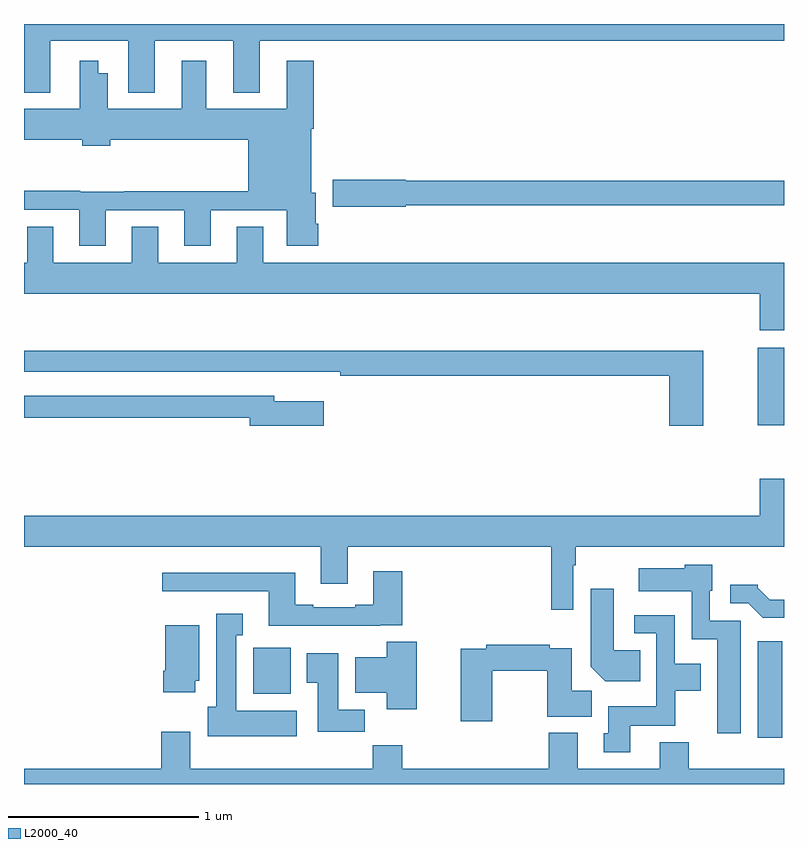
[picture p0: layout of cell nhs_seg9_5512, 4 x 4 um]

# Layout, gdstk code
import gdstk
lib = gdstk.Library(unit=1e-6, precision=1e-09)
def R(c, l, rs):  # rectangles x0, y0, x1, y1
    for r in rs: c.add(gdstk.rectangle(r[:2], r[2:], *l))
def P(c, l, *ps):  # polygons
    for p in ps: c.add(gdstk.Polygon(p, *l))
L2000_40 = (2000, 40)

nhs_seg9_5512 = lib.new_cell('nhs_seg9_5512')
R(nhs_seg9_5512, L2000_40, [(434.861,1200.744,434.992,1201.252), (432.206,1200.974,432.403,1201.216), (434.863,1202.388,435,1202.796)])
P(nhs_seg9_5512, L2000_40, [(431.137,1204.412),(431.549,1204.412),(431.549,1204.139),(431.689,1204.139),(431.689,1204.412),(432.101,1204.412),(432.101,1204.139),(432.241,1204.139),(432.241,1204.412),(435,1204.412),(435,1204.5),(431,1204.5),(431,1204.139),(431.137,1204.139)],
  [(431.431,1203.519),(431.843,1203.519),(431.843,1203.333),(431.983,1203.333),(431.983,1203.519),(432.383,1203.519),(432.383,1203.333),(432.548,1203.333),(432.548,1203.449),(432.535,1203.449),(432.535,1203.612),(432.511,1203.612),(432.511,1203.95),(432.524,1203.95),(432.524,1204.306),(432.383,1204.306),(432.383,1204.054),(431.959,1204.054),(431.959,1204.306),(431.831,1204.306),(431.831,1204.054),(431.44,1204.054),(431.44,1204.24),(431.392,1204.24),(431.392,1204.306),(431.294,1204.306),(431.294,1204.054),(431,1204.054),(431,1203.89),(431.306,1203.89),(431.306,1203.86),(431.453,1203.86),(431.453,1203.89),(432.179,1203.89),(432.179,1203.62),(431.527,1203.62),(431.527,1203.618),(431.295,1203.618),(431.295,1203.623),(431,1203.623),(431,1203.522),(431.291,1203.522),(431.291,1203.333),(431.431,1203.333)],
  [(433.008,1203.546),(435,1203.546),(435,1203.674),(433.008,1203.674),(433.008,1203.68),(432.624,1203.68),(432.624,1203.538),(433.008,1203.538)],
  [(435,1203.244),(432.259,1203.244),(432.259,1203.434),(432.119,1203.434),(432.119,1203.244),(431.707,1203.244),(431.707,1203.434),(431.567,1203.434),(431.567,1203.244),(431.155,1203.244),(431.155,1203.434),(431.016,1203.434),(431.016,1203.244),(431,1203.244),(431,1203.08),(434.873,1203.08),(434.873,1202.889),(435,1202.889)],
  [(434.574,1202.779),(431,1202.779),(431,1202.67),(432.412,1202.67),(432.412,1202.669),(432.664,1202.669),(432.664,1202.65),(434.396,1202.65),(434.396,1202.385),(434.574,1202.385)],
  [(432.577,1202.515),(432.316,1202.515),(432.316,1202.544),(431,1202.544),(431,1202.428),(432.188,1202.428),(432.188,1202.386),(432.577,1202.386)],
  [(433.89,1201.652),(433.903,1201.652),(433.903,1201.748),(435,1201.748),(435,1202.107),(434.873,1202.107),(434.873,1201.912),(431,1201.912),(431,1201.748),(432.563,1201.748),(432.563,1201.554),(432.703,1201.554),(432.703,1201.748),(433.774,1201.748),(433.774,1201.416),(433.89,1201.416)],
  [(434.773,1201.359),(434.61,1201.359),(434.61,1201.518),(434.623,1201.518),(434.623,1201.654),(434.478,1201.654),(434.478,1201.636),(434.235,1201.636),(434.235,1201.514),(434.514,1201.514),(434.514,1201.262),(434.648,1201.262),(434.648,1200.768),(434.773,1200.768)],
  [(432.875,1201.335),(432.992,1201.335),(432.992,1201.621),(432.839,1201.621),(432.839,1201.444),(432.743,1201.444),(432.743,1201.431),(432.523,1201.431),(432.523,1201.444),(432.427,1201.444),(432.427,1201.612),(431.727,1201.612),(431.727,1201.515),(432.287,1201.515),(432.287,1201.334),(432.875,1201.334)],
  [(435,1201.47),(434.926,1201.47),(434.862,1201.534),(434.862,1201.549),(434.718,1201.549),(434.718,1201.452),(434.811,1201.452),(434.887,1201.376),(435,1201.376)],
  [(434.243,1201.204),(434.104,1201.204),(434.104,1201.528),(433.982,1201.528),(433.982,1201.118),(434.06,1201.04),(434.243,1201.04)],
  [(432.436,1200.886),(432.118,1200.886),(432.118,1201.283),(432.151,1201.283),(432.151,1201.396),(432.011,1201.396),(432.011,1200.906),(431.966,1200.906),(431.966,1200.752),(432.436,1200.752)],
  [(434.191,1200.806),(434.427,1200.806),(434.427,1200.992),(434.563,1200.992),(434.563,1201.132),(434.424,1201.132),(434.424,1201.389),(434.211,1201.389),(434.211,1201.293),(434.328,1201.293),(434.328,1200.91),(434.075,1200.91),(434.075,1200.768),(434.051,1200.768),(434.051,1200.666),(434.191,1200.666)],
  [(431.902,1201.044),(431.923,1201.044),(431.923,1201.336),(431.744,1201.336),(431.744,1201.096),(431.732,1201.096),(431.732,1200.984),(431.902,1200.984)],
  [(433.066,1201.25),(432.908,1201.25),(432.908,1201.168),(432.743,1201.168),(432.743,1200.98),(432.908,1200.98),(432.908,1200.894),(433.066,1200.894)],
  [(433.464,1201.096),(433.753,1201.096),(433.753,1200.854),(433.987,1200.854),(433.987,1200.992),(433.882,1200.992),(433.882,1201.214),(433.766,1201.214),(433.766,1201.232),(433.432,1201.232),(433.432,1201.212),(433.298,1201.212),(433.298,1200.831),(433.464,1200.831)],
  [(432.794,1200.892),(432.655,1200.892),(432.655,1201.189),(432.488,1201.189),(432.488,1201.033),(432.545,1201.033),(432.545,1200.774),(432.794,1200.774)],
  [(433.915,1200.769),(433.763,1200.769),(433.763,1200.58),(432.992,1200.58),(432.992,1200.704),(432.835,1200.704),(432.835,1200.58),(431.875,1200.58),(431.875,1200.775),(431.723,1200.775),(431.723,1200.58),(431,1200.58),(431,1200.5),(435,1200.5),(435,1200.58),(434.498,1200.58),(434.498,1200.721),(434.345,1200.721),(434.345,1200.58),(433.915,1200.58)])

lib.write_gds('nhs_seg9_5512.gds')
